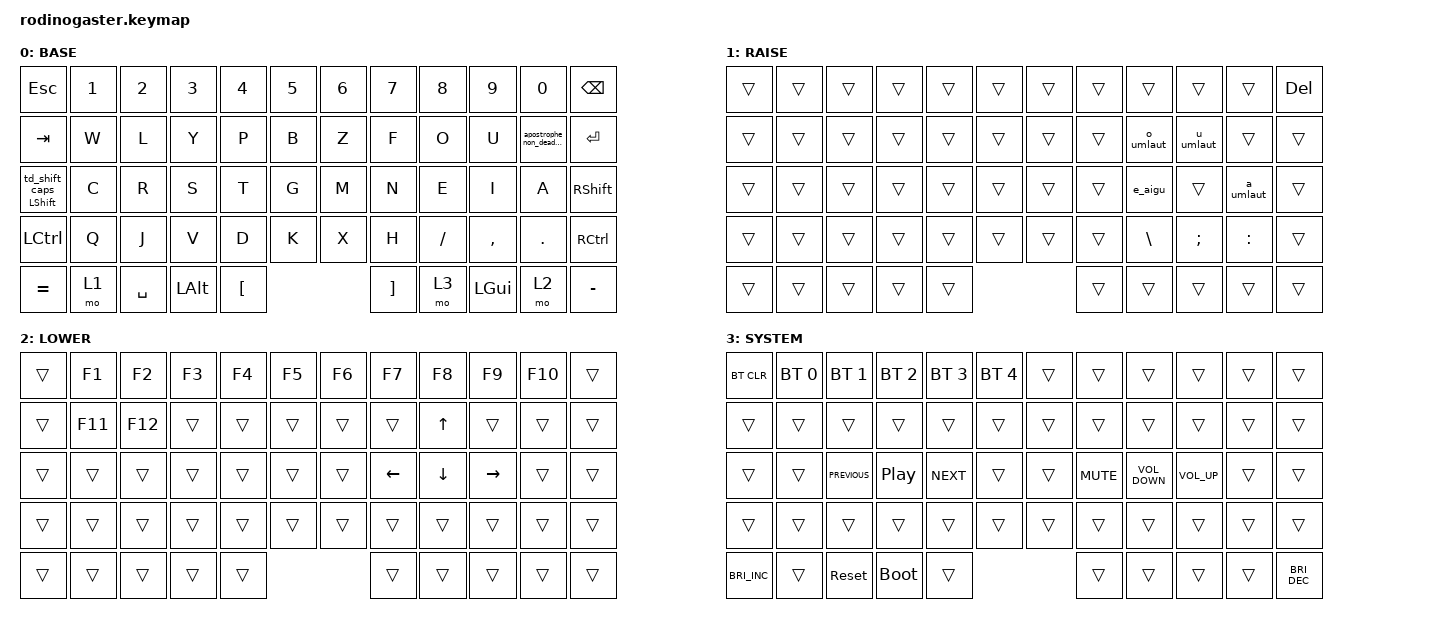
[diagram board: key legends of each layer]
/*
 * Copyright (c) 2020 The ZMK Contributors
 *
 * SPDX-License-Identifier: MIT
 */
/* THIS FILE WAS GENERATED!
 *
 * This file was generated automatically. You may or may not want to
 * edit it directly.
 */

#include <behaviors.dtsi>
#include <dt-bindings/zmk/bt.h>
#include <dt-bindings/zmk/keys.h>

/ {
    combos { compatible = "zmk,combos"; };

    macros {
        a_umlaut: a_umlaut {
            compatible = "zmk,behavior-macro";
            #binding-cells = <0>;
            bindings = <&kp DOUBLE_QUOTES &kp A>;
            label = "A_UMLAUT";
        };

        apostrophe_non_dead_key: apostrophe_non_dead_key {
            compatible = "zmk,behavior-macro";
            #binding-cells = <0>;
            bindings = <&kp APOSTROPHE &kp SPACE>;
            label = "APOSTROPHE_NON_DEAD_KEY";
        };

        o_umlaut: o_diacritic {
            compatible = "zmk,behavior-macro";
            #binding-cells = <0>;
            bindings = <&kp DOUBLE_QUOTES &kp O>;
            label = "O_DIACRITIC";
        };

        u_umlaut: u_diacritic {
            compatible = "zmk,behavior-macro";
            #binding-cells = <0>;
            bindings = <&kp DOUBLE_QUOTES &kp U>;
            label = "U_DIACRITIC";
        };

        e_aigu: e_aigu {
            compatible = "zmk,behavior-macro";
            #binding-cells = <0>;
            bindings = <&kp SINGLE_QUOTE &kp E>;
            label = "E_AIGU";
        };
    };

    behaviors {
        shift_caps: shift_caps {
            compatible = "zmk,behavior-hold-tap";
            label = "SHIFT_CAPS";
            bindings = <&kp>, <&td_shift_caps>;

            #binding-cells = <2>;
            tapping-term-ms = <200>;
            quick-tap-ms = <300>;
            flavor = "tap-preferred";
        };

        td_shift_caps: td_shift_caps {
            compatible = "zmk,behavior-tap-dance";
            label = "TD_SHIFT_CAPS";
            #binding-cells = <0>;
            bindings = <&none>, <&caps_word>;

            tapping-term-ms = <250>;
        };
    };

    keymap {
        compatible = "zmk,keymap";

        BASE {
            bindings = <
&kp ESC                   &kp NUMBER_1  &kp NUMBER_2  &kp NUMBER_3  &kp NUMBER_4  &kp NUMBER_5    &kp NUMBER_6  &kp NUMBER_7  &kp NUMBER_8  &kp NUMBER_9  &kp NUMBER_0              &kp BACKSPACE
&kp TAB                   &kp W         &kp L         &kp Y         &kp P         &kp B           &kp Z         &kp F         &kp O         &kp U         &apostrophe_non_dead_key  &kp ENTER
&shift_caps LEFT_SHIFT 0  &kp C         &kp R         &kp S         &kp T         &kp G           &kp M         &kp N         &kp E         &kp I         &kp A                     &kp RIGHT_SHIFT
&kp LCTRL                 &kp Q         &kp J         &kp V         &kp D         &kp K           &kp X         &kp H         &kp SLASH     &kp COMMA     &kp DOT                   &kp RIGHT_CONTROL
&kp EQUAL                 &mo 1         &kp SPACE     &kp LEFT_ALT  &kp LBKT                                    &kp RBKT      &mo 3         &kp LEFT_GUI  &mo 2                     &kp MINUS
            >;
        };

        RAISE {
            bindings = <
&trans  &trans  &trans  &trans  &trans  &trans    &trans  &trans  &trans         &trans         &trans     &kp DELETE
&trans  &trans  &trans  &trans  &trans  &trans    &trans  &trans  &o_umlaut      &u_umlaut      &trans     &trans
&trans  &trans  &trans  &trans  &trans  &trans    &trans  &trans  &e_aigu        &trans         &a_umlaut  &trans
&trans  &trans  &trans  &trans  &trans  &trans    &trans  &trans  &kp BACKSLASH  &kp SEMICOLON  &kp COLON  &trans
&trans  &trans  &trans  &trans  &trans                    &trans  &trans         &trans         &trans     &trans
            >;
        };

        LOWER {
            bindings = <
&trans  &kp F1   &kp F2   &kp F3  &kp F4  &kp F5    &kp F6  &kp F7          &kp F8          &kp F9           &kp F10  &trans
&trans  &kp F11  &kp F12  &trans  &trans  &trans    &trans  &trans          &kp UP_ARROW    &trans           &trans   &trans
&trans  &trans   &trans   &trans  &trans  &trans    &trans  &kp LEFT_ARROW  &kp DOWN_ARROW  &kp RIGHT_ARROW  &trans   &trans
&trans  &trans   &trans   &trans  &trans  &trans    &trans  &trans          &trans          &trans           &trans   &trans
&trans  &trans   &trans   &trans  &trans                    &trans          &trans          &trans           &trans   &trans
            >;
        };

        SYSTEM {
            bindings = <
&bt BT_CLR            &bt BT_SEL 0  &bt BT_SEL 1    &bt BT_SEL 2      &bt BT_SEL 3  &bt BT_SEL 4    &trans  &trans      &trans             &trans           &trans  &trans
&trans                &trans        &trans          &trans            &trans        &trans          &trans  &trans      &trans             &trans           &trans  &trans
&trans                &trans        &kp C_PREVIOUS  &kp C_PLAY_PAUSE  &kp C_NEXT    &trans          &trans  &kp C_MUTE  &kp C_VOLUME_DOWN  &kp C_VOLUME_UP  &trans  &trans
&trans                &trans        &trans          &trans            &trans        &trans          &trans  &trans      &trans             &trans           &trans  &trans
&kp C_BRIGHTNESS_INC  &trans        &sys_reset      &bootloader       &trans                                &trans      &trans             &trans           &trans  &kp C_BRIGHTNESS_DEC
            >;
        };
    };
};
